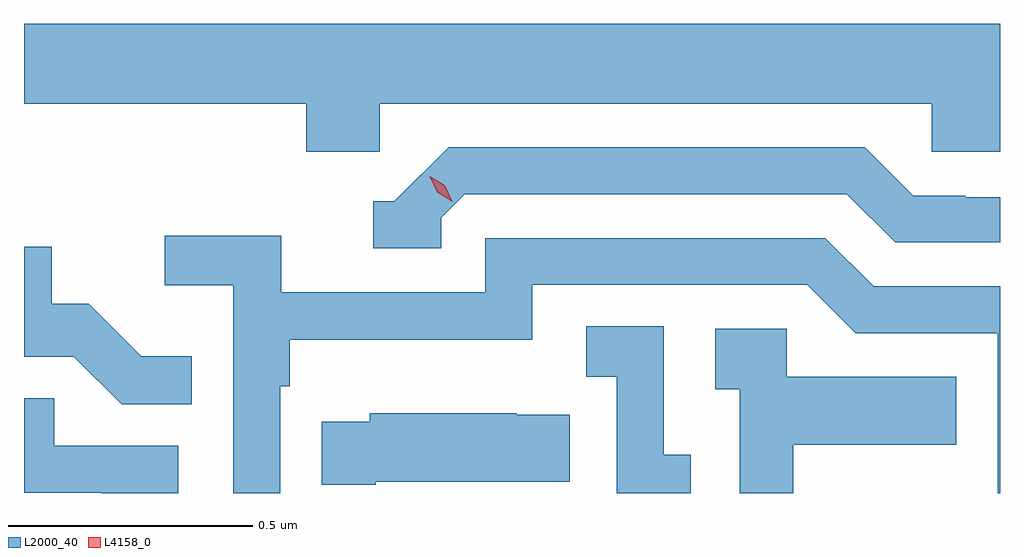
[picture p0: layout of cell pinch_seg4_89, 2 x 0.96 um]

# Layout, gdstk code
import gdstk
lib = gdstk.Library(unit=1e-6, precision=1e-09)
def P(c, l, *ps):  # polygons
    for p in ps: c.add(gdstk.Polygon(p, *l))
L2000_40 = (2000, 40)
L4158_0 = (4158, 0)

pinch_seg4_89 = lib.new_cell('pinch_seg4_89')
P(pinch_seg4_89, L2000_40, [(1053.234,812.804),(1054.365,812.804),(1054.365,812.706),(1054.505,812.706),(1054.505,812.968),(1052.505,812.968),(1052.505,812.804),(1053.083,812.804),(1053.083,812.706),(1053.234,812.706)],
  [(1053.36,812.571),(1053.408,812.619),(1054.191,812.619),(1054.29,812.52),(1054.505,812.52),(1054.505,812.613),(1054.434,812.613),(1054.434,812.616),(1054.327,812.616),(1054.228,812.715),(1053.375,812.715),(1053.264,812.604),(1053.221,812.604),(1053.221,812.508),(1053.36,812.508)],
  [(1053.03,812.225),(1053.05,812.225),(1053.05,812.321),(1053.546,812.321),(1053.546,812.433),(1054.11,812.433),(1054.209,812.334),(1054.5,812.334),(1054.5,812.006),(1054.505,812.006),(1054.505,812.43),(1054.246,812.43),(1054.147,812.529),(1053.45,812.529),(1053.45,812.418),(1053.032,812.418),(1053.032,812.534),(1052.793,812.534),(1052.793,812.432),(1052.934,812.432),(1052.934,812.006),(1053.03,812.006)],
  [(1052.849,812.287),(1052.745,812.287),(1052.638,812.394),(1052.562,812.394),(1052.562,812.511),(1052.505,812.511),(1052.505,812.286),(1052.607,812.286),(1052.705,812.188),(1052.849,812.188)],
  [(1053.871,812.085),(1053.816,812.085),(1053.816,812.348),(1053.657,812.348),(1053.657,812.245),(1053.72,812.245),(1053.72,812.006),(1053.871,812.006)],
  [(1054.081,812.105),(1054.415,812.105),(1054.415,812.245),(1054.068,812.245),(1054.068,812.343),(1053.921,812.343),(1053.921,812.219),(1053.972,812.219),(1053.972,812.006),(1054.081,812.006)],
  [(1052.821,812.103),(1052.567,812.103),(1052.567,812.201),(1052.505,812.201),(1052.505,812.007),(1052.663,812.007),(1052.663,812.006),(1052.821,812.006)],
  [(1053.226,812.03),(1053.623,812.03),(1053.623,812.167),(1053.515,812.167),(1053.515,812.17),(1053.213,812.17),(1053.213,812.152),(1053.115,812.152),(1053.115,812.023),(1053.226,812.023)])
P(pinch_seg4_89, L4158_0, [(1053.382,812.604),(1053.352,812.623),(1053.336,812.656),(1053.336,812.656),(1053.336,812.656),(1053.367,812.637),(1053.383,812.604),(1053.383,812.604)])

lib.write_gds('pinch_seg4_89.gds')
